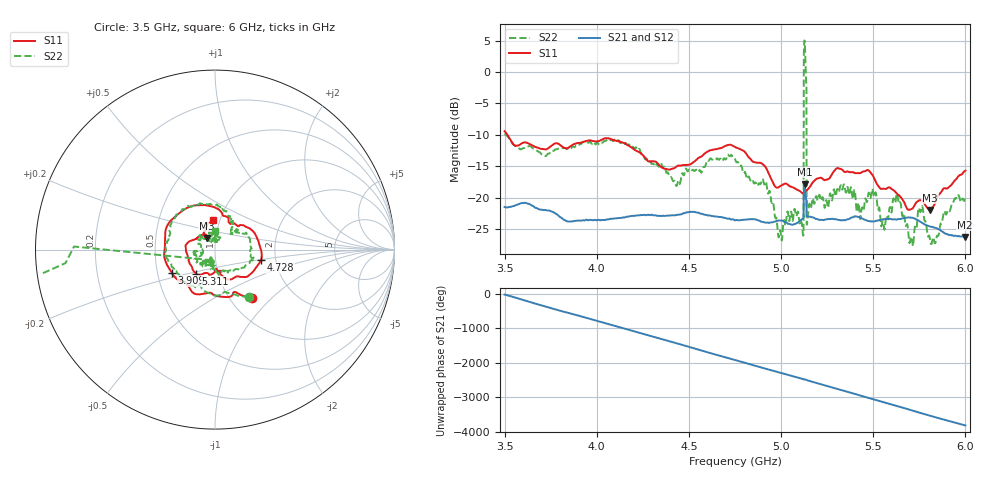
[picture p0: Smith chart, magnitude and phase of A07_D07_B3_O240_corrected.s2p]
! Created with skrf 1.9.0 (http://scikit-rf.org).
# Hz S RI R 50.0
!freq ReS11 ImS11 ReS21 ImS21 ReS12 ImS12 ReS22 ImS22
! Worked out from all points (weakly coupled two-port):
!   1601 points, 3.5 GHz to 6 GHz, reference 50 ohm
!   highest |S21| = -17.85 dB at 5.128 GHz (marker M1); lowest = -26.3 dB at 5.995 GHz (marker M2)
!   lowest |S11| = -22.0 dB at 5.808 GHz (marker M3), VSWR 1.17, Z = 45.1 + j5.85 ohm
!   |S11| at or under -10 dB: 3.515 GHz to end of sweep
!   |S22| runs from -27.8 to 5.0 dB; largest |S21 - S12| = 0.0011
!   S11 on the Smith chart (normalised r, x): 3.5 GHz: 1.26, -0.76; 3.909 GHz: 0.60, -0.17; 4.728 GHz: 1.68, -0.20; 5.311 GHz: 0.78, -0.21; 6 GHz: 0.93, +0.31
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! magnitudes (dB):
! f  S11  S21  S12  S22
! 3.5 GHz  -9.4  -21.5  -21.5  -9.8
! 3.909 GHz  -11.3  -23.7  -23.7  -11.5
! 3.917 GHz  -11.2  -23.7  -23.7  -11.4
! 4.334 GHz  -14.7  -22.9  -22.9  -15.0
! 4.439 GHz  -14.9  -22.8  -22.7  -17.6
! 4.728 GHz  -11.6  -23.5  -23.4  -13.2
! 4.75 GHz  -11.9  -23.6  -23.6  -13.9
! 4.909 GHz  -14.9  -24.0  -23.9  -17.9
! 4.994 GHz  -18.2  -23.7  -23.6  -25.3
! 5.109 GHz  -19.2  -23.5  -23.5  -23.9
! 5.128 GHz  -19.1  -17.8  -17.9  5.0
! 5.136 GHz  -18.9  -20.4  -20.3  -1.6
! 5.152 GHz  -18.5  -23.0  -23.0  -21.1
! 5.167 GHz  -17.8  -23.1  -23.1  -20.7
! 5.311 GHz  -15.3  -23.6  -23.5  -19.0
! 5.584 GHz  -18.4  -23.4  -23.4  -22.6
! 5.636 GHz  -19.6  -23.4  -23.4  -20.5
! 5.706 GHz  -21.9  -23.2  -23.2  -26.3
! 5.758 GHz  -20.4  -23.9  -23.9  -22.2
! 5.808 GHz  -22.0  -24.6  -24.6  -26.6
! 5.995 GHz  -15.8  -26.3  -26.2  -20.4
! 6 GHz  -15.7  -26.3  -26.2  -19.7
